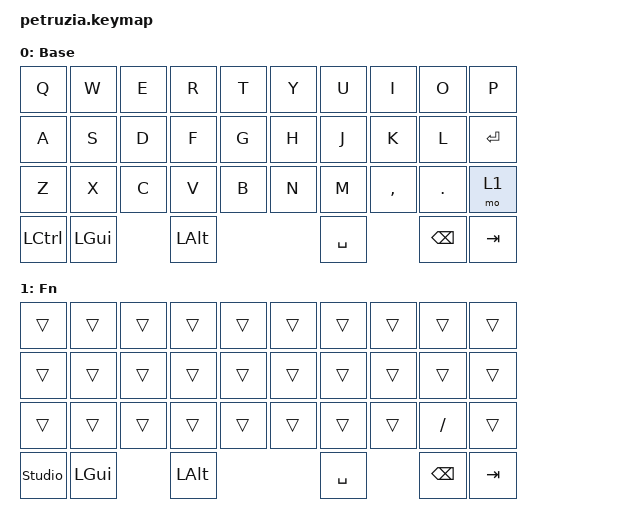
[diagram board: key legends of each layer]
#include <behaviors.dtsi>
#include <dt-bindings/zmk/keys.h>

/*
 * PetruziaMini — ZMK Studio keymap.
 *
 * Base layer = прежняя QWERTY-раскладка, одно изменение:
 *   позиция 29 (SLASH) теперь hold-слой Fn (&mo 1).
 * В слое Fn:
 *   позиция 29 — снова SLASH,
 *   позиция 30 (место Ctrl) — &studio_unlock для разблокировки ZMK Studio.
 * extra1 / extra2 — резервные слои, ZMK Studio сможет их включать и редактировать.
 */

/ {
    keymap {
        compatible = "zmk,keymap";

        default_layer {
            display-name = "Base";
            bindings = <
                &kp Q &kp W &kp E &kp R &kp T
                &kp Y &kp U &kp I &kp O &kp P

                &kp A &kp S &kp D &kp F &kp G
                &kp H &kp J &kp K &kp L &kp ENTER

                &kp Z &kp X &kp C &kp V &kp B
                &kp N &kp M &kp COMMA &kp DOT &mo 1

                &kp LCTRL &kp LGUI &kp LALT &kp SPACE
                &kp BACKSPACE &kp TAB
            >;
        };

        fn_layer {
            display-name = "Fn";
            bindings = <
                &trans &trans &trans &trans &trans
                &trans &trans &trans &trans &trans

                &trans &trans &trans &trans &trans
                &trans &trans &trans &trans &trans

                &trans &trans &trans &trans &trans
                &trans &trans &trans &kp SLASH &trans

                &studio_unlock &kp LGUI &kp LALT &kp SPACE
                &kp BACKSPACE &kp TAB
            >;
        };

        extra1 {
            status = "reserved";
        };

        extra2 {
            status = "reserved";
        };
    };
};
